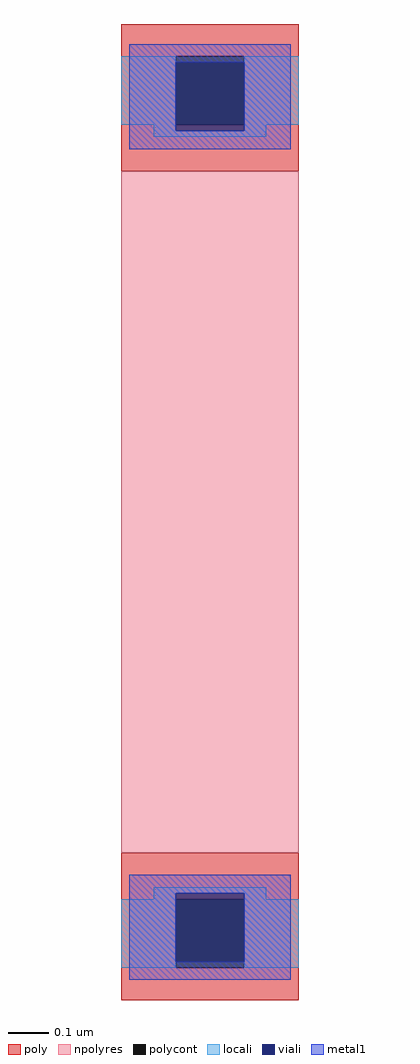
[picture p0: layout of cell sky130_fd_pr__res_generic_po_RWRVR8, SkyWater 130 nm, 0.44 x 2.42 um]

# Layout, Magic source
magic
tech sky130A
magscale 1 2
<< poly >>
rect -44 226 44 242
rect -44 192 -17 226
rect 17 192 44 226
rect -44 169 44 192
rect -44 -192 44 -169
rect -44 -226 -17 -192
rect 17 -226 44 -192
rect -44 -242 44 -226
<< polycont >>
rect -17 192 17 226
rect -17 -226 17 -192
<< npolyres >>
rect -44 -169 44 169
<< locali >>
rect -44 192 -17 226
rect 17 192 44 226
rect -28 189 -17 192
rect 17 189 28 192
rect -28 186 28 189
rect -28 -189 28 -186
rect -28 -192 -17 -189
rect 17 -192 28 -189
rect -44 -226 -17 -192
rect 17 -226 44 -192
<< viali >>
rect -17 192 17 223
rect -17 189 17 192
rect -17 -192 17 -189
rect -17 -223 17 -192
<< metal1 >>
rect -40 223 40 232
rect -40 189 -17 223
rect 17 189 40 223
rect -40 180 40 189
rect -40 -189 40 -180
rect -40 -223 -17 -189
rect 17 -223 40 -189
rect -40 -232 40 -223
<< end >>
